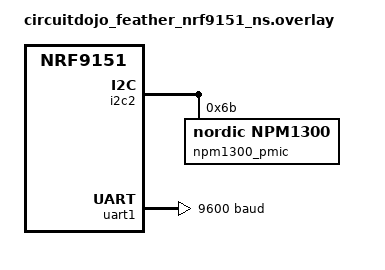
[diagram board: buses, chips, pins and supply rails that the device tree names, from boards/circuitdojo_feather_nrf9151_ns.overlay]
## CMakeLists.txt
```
# SPDX-License-Identifier: Apache-2.0

cmake_minimum_required(VERSION 3.21)


find_package(Zephyr HINTS $ENV{ZEPHYR_BASE})
project(blinky)

# If board is nRF9160 add the source files 
if (CONFIG_BOARD_CIRCUITDOJO_FEATHER_NRF9160)
    target_sources(app PRIVATE ${ZEPHYR_BASE}/samples/basic/blinky/src/main.c)
elseif(CONFIG_BOARD_CIRCUITDOJO_FEATHER_NRF9161 OR CONFIG_BOARD_CIRCUITDOJO_FEATHER_NRF9151)
    target_sources(app PRIVATE src/main.c)
else()
    message(FATAL_ERROR "Unsupported board")
endif()
```

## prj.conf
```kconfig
CONFIG_GPIO=y

CONFIG_SERIAL=y
CONFIG_CONSOLE=y

CONFIG_LOG=y
CONFIG_LOG_DEFAULT_LEVEL=3

CONFIG_NRF_MODEM_LIB=y

CONFIG_AT_MONITOR=y
CONFIG_AT_PARSER=y
CONFIG_AT_CMD_PARSER=y

CONFIG_MODEM_INFO=y

CONFIG_NETWORKING=y
CONFIG_NET_SOCKETS=y

CONFIG_MQTT_LIB=y

CONFIG_POLL=y

CONFIG_HEAP_MEM_POOL_SIZE=8192
CONFIG_MAIN_STACK_SIZE=8192

CONFIG_LTE_LINK_CONTROL=y

CONFIG_DATE_TIME=y
```

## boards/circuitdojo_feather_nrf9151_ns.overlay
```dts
&i2c2 {
    npm1300_pmic: pmic@6b {
        compatible = "nordic,npm1300";
        reg = <0x6b>;

        npm1300_leds: leds {
            compatible = "nordic,npm1300-led";
            nordic,led0-mode = "host";
            nordic,led1-mode = "host";
            nordic,led2-mode = "host";
        };
    };
};
&uart1 {
    status = "okay";
    current-speed = <9600>;
};
```

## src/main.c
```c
/*
todo
-> obtain meter resets
-> full sleep shutdown, use rtc to wake up/turn on again for daily
-> de power the rs232 transceiver, like power with digital output maybe, and set to no voltage to turn off
-> psm mode, leave modem on and maybe connected, investigate for 15 min
-> pulse input to wake from deep sleep, change to 15minute rate, change back to daily when stop watering
-> compress/zip the payload maybe
-> receive config updates over the air COTA
-> use async lte_lc_connect and wait, as current is blocking if antenna not connected lte_lc_connect_async(lte_handler); with semaphore
-> mqtt publish raw modbus response packet/bytes too
-> system off, will lose memeory data, if not RETAIN config, or write to flahs, or eeprom
-> avoid writing to flash, to reduce wear. there is system off retain ram, if want to use when system off [deepest sleep], ai suggests not too SYSTEM OFF
-> only timesync daily, not hourly
-> preventative reboot....reboot daily or weekly, network issues, memory leaks
-> watchdog reboot if error
-> remove excessive print
-> dump error log
-> random sleep, say 0-60 seconds, to avoid collisions, then do modbus and mqtt publish
-> mqtts, i understand now, should not need to change the blob
-> modbus retries
-> different timer for modbus reading, versus publishing
 */

#include <stdint.h>
#include <stdbool.h>
#include <string.h>
#include <stdio.h>
#include <stdarg.h>
#include <zephyr/kernel.h>
#include <zephyr/drivers/uart.h>
#include <zephyr/sys/printk.h>
#include <zephyr/sys/util.h>
#include <date_time.h>

#include <modem/nrf_modem_lib.h>
#include <modem/modem_info.h>
#include <nrf_modem_at.h>
#include <modem/lte_lc.h>
#include <zephyr/net/socket.h>
#include <zephyr/net/mqtt.h>

#define MB_UART_NODE DT_NODELABEL(uart1)
#define SLEEP_INTERVAL_S (60 * 60)

#define FW_VERSION "0.6.4"
#define DEVICE_NAME "nrf1"
#define MQTT_TOPIC "devices/" DEVICE_NAME
#define EVENT_COLD_BOOT 1000
#define MODBUS_RESPONSE_LEN 19
#define MODBUS_RETRIES      1

static const struct device *mb_uart = DEVICE_DT_GET(MB_UART_NODE);

static struct mqtt_client client;
static struct sockaddr_storage broker;

static uint8_t rx_buffer[1024];
static uint8_t tx_buffer[1024];

#define MEASUREMENT_HISTORY_SIZE 10
#define ERROR_HISTORY_SIZE 10
#define ERROR_MSG_LEN      64

static bool mqtt_connected;

typedef struct
{
    bool     utc_valid;
    int64_t  timestamp;

    uint16_t flow;
    uint16_t battery;
    uint16_t solar;

    uint32_t peak;
    uint32_t offpeak;

    int16_t  rsrp_dbm;

} measurement_t;

typedef struct
{
    bool     utc_valid;
    int64_t  timestamp;    // UTC ms if utc_valid, otherwise oh yeah,uptime ms
    int32_t  error_code;
    char     message[ERROR_MSG_LEN];
} error_entry_t;

static measurement_t measurements[MEASUREMENT_HISTORY_SIZE];
static error_entry_t error_log[ERROR_HISTORY_SIZE];
static uint8_t measurement_head;
static uint8_t measurement_count;
static uint8_t error_head;
static uint8_t error_count;    

static void measurement_log_clear(void)
{
    measurement_head = 0;
    measurement_count = 0;
}

static void error_log_clear(void)
{
    error_head = 0;
    error_count = 0;
}

static uint8_t measurement_log_count(void)
{
    return measurement_count;
}

static uint8_t error_log_count(void)
{
    return error_count;
}

static void measurement_log_add(const measurement_t *m)
{
    measurements[measurement_head] = *m;

    measurement_head =
        (measurement_head + 1) % MEASUREMENT_HISTORY_SIZE;

    if (measurement_count < MEASUREMENT_HISTORY_SIZE) {
        measurement_count++;
    }
}

static void error_log_add(int32_t error_code,
                   const char *fmt, ...)
{
    error_entry_t *entry = &error_log[error_head];

    entry->error_code = error_code;

    if (date_time_is_valid() &&
        date_time_now(&entry->timestamp) == 0) {
        entry->utc_valid = true;
    } else {
        entry->utc_valid = false;
        entry->timestamp = k_uptime_get();
    }

    va_list args;
    va_start(args, fmt);
    vsnprintf(entry->message,
              sizeof(entry->message),
              fmt,
              args);
    va_end(args);

    printk("[ERROR] code=%d: %s\n", (int)error_code, entry->message);

    error_head = (error_head + 1) % ERROR_HISTORY_SIZE;

    if (error_count < ERROR_HISTORY_SIZE)
        error_count++;
}

static const measurement_t *measurement_log_get(uint8_t i)
{
    if (i >= measurement_count) {
        return NULL;
    }

    uint8_t index =
        (measurement_head + MEASUREMENT_HISTORY_SIZE - measurement_count + i) %
        MEASUREMENT_HISTORY_SIZE;

    return &measurements[index];
}

static const error_entry_t *error_log_get(uint8_t i)
{
    if (i >= error_count) {
        return NULL;
    }

    uint8_t index =
        (error_head  + ERROR_HISTORY_SIZE - error_count + i) %
        ERROR_HISTORY_SIZE;

    return &error_log[index];
}

static int build_payload(char *buf, size_t len)
{
    int written;

    written = snprintf(buf, len,
        "{"
        "\"d\":\"" DEVICE_NAME "\","
        "\"v\":\"" FW_VERSION "\","
        "\"measurements\":[");
    if (written < 0 || (size_t)written >= len)
        return -ENOMEM;

    size_t pos = (size_t)written;

    uint8_t num_measurements = measurement_log_count();
    
    for (uint8_t i = 0; i < num_measurements; i++) {

        const measurement_t *m = measurement_log_get(i);
        if (m == NULL) {
            return -EINVAL;
        }

        written = snprintf(
            buf + pos,
            len - pos,
            "%s{"
            "\"t\":%lld,"
            "\"utc\":%s,"
            "\"p\":%u,"
            "\"o\":%u,"
            "\"f\":%u,"
            "\"b\":%u,"
            "\"s\":%u,"
            "\"q\":%d"
            "}",
            (i == 0) ? "" : ",",
            (long long)m->timestamp,
            m->utc_valid ? "true" : "false",
            m->peak,
            m->offpeak,
            m->flow,
            m->battery,
            m->solar,
            m->rsrp_dbm);

        if (written < 0 || (size_t)written >= (len - pos))
            return -ENOMEM;

        pos += (size_t)written;
    }

    written = snprintf(buf + pos,
                       len - pos,
                       "],\"errors\":[");
    if (written < 0 || (size_t)written >= (len - pos))
        return -ENOMEM;

    pos += (size_t)written;

    uint8_t num_errors = error_log_count();

    for (uint8_t i = 0; i < num_errors; i++) {

        const error_entry_t *e = error_log_get(i);
        if (e == NULL) {
            return -EINVAL;
        }

        written = snprintf(
            buf + pos,
            len - pos,
            "%s{"
            "\"t\":%lld,"
            "\"utc\":%s,"
            "\"c\":%d,"
            "\"m\":\"%s\""
            "}",
            (i == 0) ? "" : ",",
            (long long)e->timestamp,
            e->utc_valid ? "true" : "false",
            (int)e->error_code,
            e->message);

        if (written < 0 || (size_t)written >= (len - pos))
            return -ENOMEM;

        pos += (size_t)written;
    }

    written = snprintf(buf + pos, len - pos, "]}");

    if (written < 0 || (size_t)written >= (len - pos))
        return -ENOMEM;

    return 0;
}

static void sleep_until_next_wakeup(void)
{
    int64_t now_ms;

    if (date_time_is_valid() &&
        date_time_now(&now_ms) == 0) {

        int64_t now_sec = now_ms / 1000;

        int64_t next_wakeup =
            ((now_sec / SLEEP_INTERVAL_S) + 1) * SLEEP_INTERVAL_S;

        int64_t sleep_sec = next_wakeup - now_sec;

        printk("Sleeping %lld seconds until next wakeup\n",
               sleep_sec);

        k_sleep(K_SECONDS(sleep_sec));

    } else {

        printk("UTC time unavailable, sleeping %d seconds\n",
               SLEEP_INTERVAL_S);

        k_sleep(K_SECONDS(SLEEP_INTERVAL_S));
    }
}

static int uart_send_bytes(const uint8_t *data, size_t len)
{
    for (size_t i = 0; i < len; i++) {
        uart_poll_out(mb_uart, data[i]);
    }
    return 0;
}

static int uart_read_bytes(uint8_t *buf,
                           size_t max_len,
                           int first_byte_timeout_ms)
{
    const int inter_byte_timeout_ms = 10;

    int count = 0;
    int64_t timeout;

    /* Wait for the first byte */
    timeout = k_uptime_get() + first_byte_timeout_ms;

    while (k_uptime_get() < timeout) {

        if (uart_poll_in(mb_uart, &buf[0]) == 0) {
            count = 1;
            break;
        }

        k_sleep(K_MSEC(1));
    }

    if (count == 0) {
        return 0;   /* No response */
    }

    /* Read until no more bytes arrive */
    timeout = k_uptime_get() + inter_byte_timeout_ms;

    while (count < max_len) {

        if (uart_poll_in(mb_uart, &buf[count]) == 0) {
            count++;

            /* Another byte arrived, extend timeout */
            timeout = k_uptime_get() + inter_byte_timeout_ms;
        } else {
            if (k_uptime_get() >= timeout) {
                break;
            }

            k_sleep(K_MSEC(1));
        }
    }

    return count;
}

#if 0
static void run_at(const char *cmd)
{
    int err;
    char resp[256] = {0};

    printk("\n=== %s ===\n", cmd);

    err = nrf_modem_at_cmd(resp,
                           sizeof(resp),
                           "%s",
                           cmd);

    printk("err=%d\n", err);

    if (err == 0) {
        printk("%s\n", resp);
    }
}
#endif

static void mqtt_evt_handler(struct mqtt_client *const client,
                             const struct mqtt_evt *evt)
{
    ARG_UNUSED(client);
    printk("MQTT event: %d\n", evt->type);

    switch (evt->type) {

    case MQTT_EVT_CONNACK:
        printk("MQTT connected\n");
        mqtt_connected = true;
        break;
    case MQTT_EVT_DISCONNECT:
        mqtt_connected = false;
        printk("MQTT disconnected\n");
        break;
    case MQTT_EVT_PUBLISH:
        printk("MQTT publish received\n");
        break;

    default:
        break;
    }
}

static int mqtt_publish_method(const char *payload)
{
    int err;

    mqtt_client_init(&client);

    client.broker = &broker;
    client.evt_cb = mqtt_evt_handler;
    client.client_id.utf8 = (uint8_t *)DEVICE_NAME;
    client.client_id.size = strlen(DEVICE_NAME);

    static uint8_t mqtt_user[] = "iotuser";
    static uint8_t mqtt_password[] = "rit2026!";

    client.user_name = &(struct mqtt_utf8){
        .utf8 = mqtt_user,
        .size = strlen((char *)mqtt_user)
    };

    client.password = &(struct mqtt_utf8){
        .utf8 = mqtt_password,
        .size = strlen((char *)mqtt_password)
    };

    client.protocol_version = MQTT_VERSION_3_1_1;

    client.rx_buf = rx_buffer;
    client.rx_buf_size = sizeof(rx_buffer);

    client.tx_buf = tx_buffer;
    client.tx_buf_size = sizeof(tx_buffer);

    struct sockaddr_in *addr =
        (struct sockaddr_in *)&broker;

    addr->sin_family = AF_INET;
    addr->sin_port = htons(1883);

    zsock_inet_pton(AF_INET,
                    "202.90.240.102",
                    &addr->sin_addr);

    mqtt_connected = false;

    err = mqtt_connect(&client);
    if (err) {
        error_log_add(err, "MQTT connect failed: %d", err);
        return err;
    }

    printk("Waiting for CONNACK...\n");

    for (int i = 0; i < 50 && !mqtt_connected; i++) {

        err = mqtt_input(&client);
        if (err && err != -EAGAIN) {
            (void)mqtt_disconnect(&client, NULL);
            return err;
        }

        err = mqtt_live(&client);
        if (err && err != -EAGAIN) {
            (void)mqtt_disconnect(&client, NULL);
            return err;
        }

        k_sleep(K_MSEC(100));
    }

    if (!mqtt_connected) {
        error_log_add(-ETIMEDOUT, "MQTT CONNACK timed out");
        (void)mqtt_disconnect(&client, NULL);
        return -ETIMEDOUT;
    }

    /* Service MQTT once more before publishing */
    err = mqtt_input(&client);
    if (err && err != -EAGAIN) {
        (void)mqtt_disconnect(&client, NULL);
        return err;
    }

    static const char topic[] = MQTT_TOPIC;

    struct mqtt_publish_param param = {
        .message.topic.topic = {
            .utf8 = (uint8_t *)topic,
            .size = strlen(topic)
        },
        .message.topic.qos = MQTT_QOS_0_AT_MOST_ONCE,
        .message.payload.data = (uint8_t *)payload,
        .message.payload.len = strlen(payload),
        .message_id = 1,
        .dup_flag = 0,
        .retain_flag = 0
    };

    err = mqtt_publish(&client, &param);
    if (err) {
        error_log_add(err, "MQTT publish failed: %d", err);
        (void)mqtt_disconnect(&client, NULL);
        return err;
    }

    printk("mqtt_publish = %d\n", err);

    int64_t end = k_uptime_get() + 500;
    while (k_uptime_get() < end) {
        (void)mqtt_input(&client);
        (void)mqtt_live(&client);
        k_sleep(K_MSEC(20));
    }

    (void)mqtt_disconnect(&client, NULL);

    return 0;
}

static uint16_t modbus_crc16(const uint8_t *buf, size_t len)
{
    uint16_t crc = 0xFFFF;

    for (size_t pos = 0; pos < len; pos++) {
        crc ^= buf[pos];

        for (int i = 0; i < 8; i++) {
            if (crc & 1) {
                crc = (crc >> 1) ^ 0xA001;
            } else {
                crc >>= 1;
            }
        }
    }

    return crc;
}

static int modbus_read(const uint8_t *request,
                       size_t request_len,
                       uint8_t *response,
                       size_t response_len)
{
    int last_err = -EIO;

    for (int attempt = 1; attempt <= MODBUS_RETRIES; attempt++) {

        memset(response, 0, response_len);

        /* Flush any stale UART bytes */
        uint8_t dummy;
        while (uart_poll_in(mb_uart, &dummy) == 0) {
        }

        uart_send_bytes(request, request_len);

        int n = uart_read_bytes(response, response_len, 500);

        if (n < MODBUS_RESPONSE_LEN) {
            last_err = -EIO;

            if (attempt == MODBUS_RETRIES) {
                error_log_add(last_err,
                              "Modbus timeout after %d retries (%d bytes)",
                              MODBUS_RETRIES,
                              n);
            }
            continue;
        }

        if (response[0] != 0x01 ||
            response[1] != 0x03 ||
            response[2] != 0x0E) {

            last_err = -EBADMSG;

            if (attempt == MODBUS_RETRIES) {
                error_log_add(last_err,
                              "Invalid Modbus header");
            }
            continue;
        }

        uint16_t crc_received =
            ((uint16_t)response[18] << 8) | response[17];

        uint16_t crc_calculated =
            modbus_crc16(response, 17);

        if (crc_received != crc_calculated) {
            last_err = -EBADMSG;

            if (attempt == MODBUS_RETRIES) {
                error_log_add(last_err,
                              "CRC mismatch: rx=%04X calc=%04X",
                              crc_received,
                              crc_calculated);
            }
            continue;
        }

        return 0;
    }

    return last_err;
}

static int getMeasurement(measurement_t *m)
{
    static const uint8_t request[8] =
        {0x01,0x03,0x00,0x1D,0x00,0x07,0x94,0x0E};

    uint8_t response[32];

    int err = modbus_read(request,
                          sizeof(request),
                          response,
                          sizeof(response));
    if (err) {
        return err;
    }

    m->flow =
        ((uint16_t)response[3] << 8) | response[4];

    m->battery =
        ((uint16_t)response[5] << 8) | response[6];

    m->solar =
        ((uint16_t)response[7] << 8) | response[8];

    m->peak =
        ((uint32_t)response[9] << 24) |
        ((uint32_t)response[10] << 16) |
        ((uint32_t)response[11] << 8) |
        response[12];

    m->offpeak =
        ((uint32_t)response[13] << 24) |
        ((uint32_t)response[14] << 16) |
        ((uint32_t)response[15] << 8) |
        response[16];

    if (date_time_is_valid() &&
        date_time_now(&m->timestamp) == 0) {
        m->utc_valid = true;
    } else {
        m->utc_valid = false;
        m->timestamp = k_uptime_get();
    }

    return 0;
}

int update_signal(measurement_t *m)
{
    short rsrp_idx = 0;
    m->rsrp_dbm = -127;
    int ret = modem_info_short_get(MODEM_INFO_RSRP, &rsrp_idx);
    if (ret < 0) {
        printk("Failed to get RSRP (err=%d)\n", ret);
        return ret;
    }
    m->rsrp_dbm = RSRP_IDX_TO_DBM(rsrp_idx);
    printk("RSRP = %d dBm (idx=%d)\n",
           m->rsrp_dbm,
           rsrp_idx);
    return 0;
}

static int publish_logs(void)
{
    if (measurement_log_count() == 0 &&
        error_log_count() == 0) {
        return 0;
    }

    char payload[1536];

int err = build_payload(payload, sizeof(payload));
    if (err) {
        measurement_log_clear();
        error_log_clear();
        error_log_add(err, "Payload build failed: %d. Logs wiped to recover.", err);
        return err;
    }

    err = mqtt_publish_method(payload);
    if (err) {
        error_log_add(err, "MQTT publish failed: %d", err);
        return err;
    }

    measurement_log_clear();
    error_log_clear();

    return 0;
}

static bool first_boot = true;

int main(void)
{    
    printk("Initialising modem...\n");

    int err = nrf_modem_lib_init();
    printk("Modem init = %d\n", err);
    if (err) {
        printk("Modem init failed\n");
        return 0;
    }
    
    err = modem_info_init();
    if (err) {
        printk("modem_info_init failed: %d\n", err);
    }

    while (1)
    {
        measurement_t m = {0};
        int rc = 0;
        if (!first_boot) {
            rc = getMeasurement(&m);
            if (rc != 0) {
                error_log_add(rc, "Measurement failed: %d", rc);
            }
        }
        
        //run_at("AT");
        err = lte_lc_normal(); //int err = lte_lc_func_mode_set(LTE_LC_FUNC_MODE_NORMAL); //run_at("AT+CFUN=1");
        if (err) {
            error_log_add(err, "Failed to set normal mode: %d", err);
        }
        printk("Before LTE connect\n");
        int64_t t0 = k_uptime_get();
        err = lte_lc_connect();
        int64_t elapsed = k_uptime_get() - t0;
        printk("After LTE connect, err=%d\n", err);
        if (err) {
            error_log_add(err, "Failed to connect network: %d", err);
            if (!first_boot && rc == 0) {
                measurement_log_add(&m);
            }
            enum lte_lc_nw_reg_status reg = LTE_LC_NW_REG_NOT_REGISTERED;
            short rsrp_idx = 0;
            int rsrp_dbm = -127;
            (void)lte_lc_nw_reg_status_get(&reg);
            if (modem_info_short_get(MODEM_INFO_RSRP, &rsrp_idx) == 0) {
                rsrp_dbm = RSRP_IDX_TO_DBM(rsrp_idx);
            }
            error_log_add(err,
                "LTE connect failed: err=%d reg=%d rsrp=%d time=%lldms",
                err,
                reg,
                rsrp_dbm,
                (long long)elapsed);
            err = lte_lc_power_off();
            if (err) {
                error_log_add(err,
                    "Failed to power off modem: %d",
                    err);
            }
            sleep_until_next_wakeup();
            continue;
        }

        if (!date_time_is_valid()) {
            err = date_time_update_async(NULL);
            if (err) {
                error_log_add(err, "Failed to request network time: %d", err);
            }

            for (int i = 0; i < 60 && !date_time_is_valid(); i++) {
                k_sleep(K_SECONDS(1));
            }
        }

        if (first_boot) {
            error_log_add(EVENT_COLD_BOOT, "Cold boot");
        } else if (rc == 0) {
            int sig_rc = update_signal(&m);
            if (sig_rc) {
                printk("Failed to read RSRP: %d\n", sig_rc);
                m.rsrp_dbm = -127;
            }
            measurement_log_add(&m);
        }
        first_boot = false;

        //k_sleep(K_SECONDS(20));

        //run_at("AT+CEREG?");
        //run_at("AT+COPS?");
        //run_at("AT+CGPADDR");

        err = publish_logs();
        if (err) {
            printk("Upload failed: %d\n", err);
        }

        err = lte_lc_power_off(); //err = lte_lc_func_mode_set(LTE_LC_FUNC_MODE_POWER_OFF);
        if (err) {
            error_log_add(err, "Failed to power off modem: %d", err);
        }

        /*err = nrf_modem_lib_shutdown();
        if (err) {
            printk("Modem shutdown failed\n");
            return 0;
        }*/

        sleep_until_next_wakeup(); 
    }
}
```
